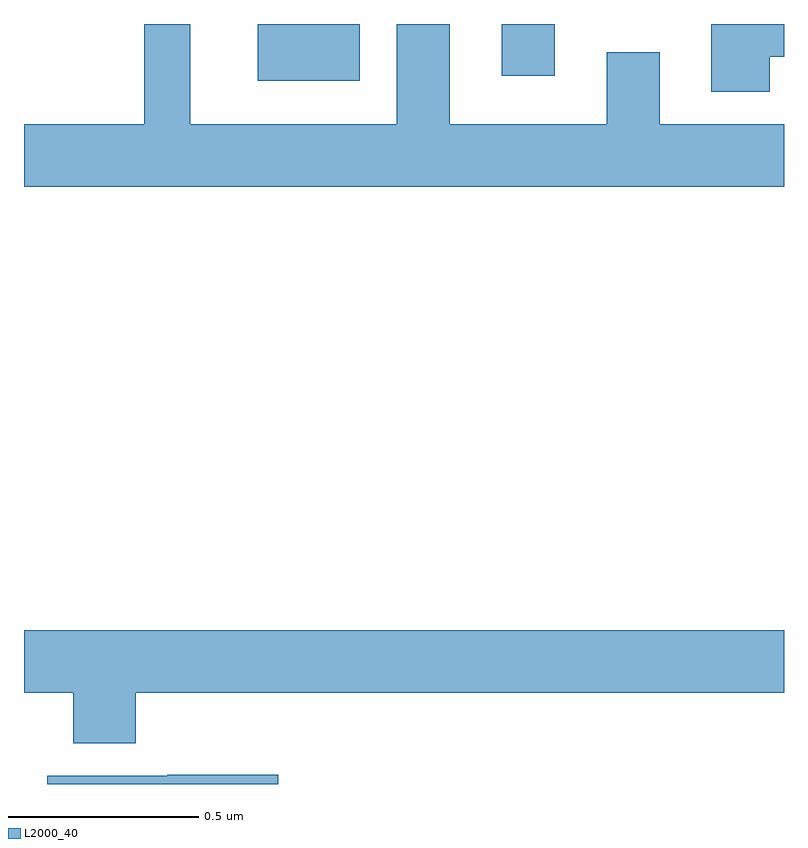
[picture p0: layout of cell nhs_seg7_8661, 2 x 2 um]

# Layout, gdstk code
import gdstk
lib = gdstk.Library(unit=1e-6, precision=1e-09)
def R(c, l, rs):  # rectangles x0, y0, x1, y1
    for r in rs: c.add(gdstk.rectangle(r[:2], r[2:], *l))
def P(c, l, *ps):  # polygons
    for p in ps: c.add(gdstk.Polygon(p, *l))
L2000_40 = (2000, 40)

nhs_seg7_8661 = lib.new_cell('nhs_seg7_8661')
R(nhs_seg7_8661, L2000_40, [(227.615,1044.851,227.884,1045), (228.257,1044.864,228.397,1045)])
P(nhs_seg7_8661, L2000_40, [(227.981,1045),(227.981,1044.736),(227.437,1044.736),(227.437,1045),(227.316,1045),(227.316,1044.736),(227,1044.736),(227,1044.572),(229,1044.572),(229,1044.736),(228.673,1044.736),(228.673,1044.926),(228.533,1044.926),(228.533,1044.736),(228.121,1044.736),(228.121,1045)],
  [(228.962,1044.914),(229,1044.914),(229,1045),(228.809,1045),(228.809,1044.822),(228.962,1044.822)],
  [(227.294,1043.24),(229,1043.24),(229,1043.404),(227,1043.404),(227,1043.24),(227.129,1043.24),(227.129,1043.107),(227.294,1043.107)],
  [(227.669,1043.024),(227.377,1043.024),(227.377,1043.022),(227.061,1043.022),(227.061,1043),(227.669,1043)])

lib.write_gds('nhs_seg7_8661.gds')
